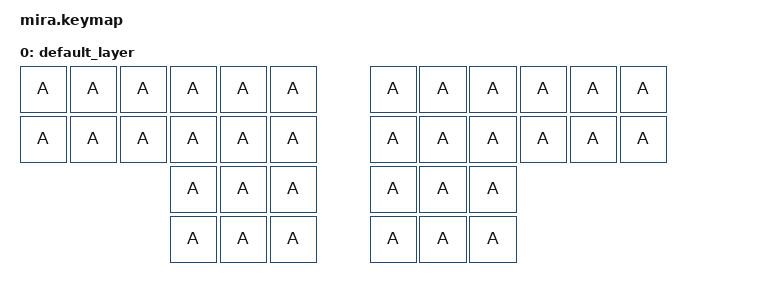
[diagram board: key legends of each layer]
/*
 * Copyright (c) 2020 The ZMK Contributors
 *
 * SPDX-License-Identifier: MIT
 */

#include <behaviors.dtsi>
#include <dt-bindings/zmk/keys.h>
#include <dt-bindings/zmk/bt.h>

/ {
	keymap {
		compatible = "zmk,keymap";

        default_layer {
        	bindings = <
		// |---------|---------|---------|---------|---------|---------|         |---------|---------|---------|---------|---------|---------|
		// |    A    |    A    |    A    |    A    |    A    |    A    |         |    A    |    A    |    A    |    A    |    A    |    A    |
			&kp A     &kp A     &kp A     &kp A     &kp A     &kp A               &kp A     &kp A     &kp A     &kp A     &kp A     &kp A
		// |---------|---------|---------|---------|---------|---------|         |---------|---------|---------|---------|---------|---------|
		// |    A    |    A    |    A    |    A    |    A    |    A    |         |    A    |    A    |    A    |    A    |    A    |    A    |
			&kp A     &kp A     &kp A     &kp A     &kp A     &kp A               &kp A     &kp A     &kp A     &kp A     &kp A     &kp A
		// |---------|---------|---------|---------|---------|---------|         |---------|---------|---------|---------|---------|---------|
		//                               |    A    |    A    |    A    |         |    A    |    A    |    A    |
			                              &kp A     &kp A     &kp A               &kp A     &kp A     &kp A
		//                               |---------|---------|---------|         |---------|---------|---------|
		//                               |    A    |    A    |    A    |         |    A    |    A    |    A    |
			                              &kp A     &kp A     &kp A               &kp A     &kp A     &kp A
		//                               |---------|---------|---------|         |---------|---------|---------|
            >;
        };
    };
};
